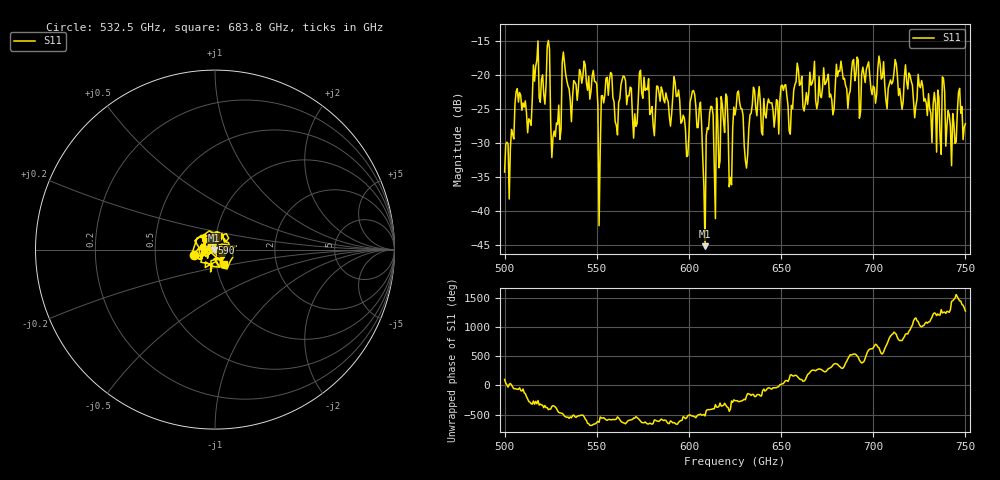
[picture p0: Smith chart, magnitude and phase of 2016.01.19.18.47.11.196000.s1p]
!Created with skrf (http://scikit-rf.org).
# GHz S RI R 50.0
!freq ReS11 ImS11
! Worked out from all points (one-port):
!   401 points, 500 GHz to 750 GHz, reference 50 ohm
!   lowest |S11| = -45.2 dB at 608.8 GHz (marker M1), VSWR 1.01, Z = 49.5 - j0.18 ohm
!   |S11| at or under -10 dB: start of sweep to end of sweep
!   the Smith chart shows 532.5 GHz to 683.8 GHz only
!   S11 on the Smith chart (normalised r, x): 532.5 GHz: 0.79, -0.05; 590 GHz: 0.96, +0.07; 683.8 GHz: 1.09, -0.18
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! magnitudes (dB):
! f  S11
! 500 GHz  -34.3
! 506.9 GHz  -22.0
! 513.8 GHz  -26.7
! 516.9 GHz  -18.7
! 523.8 GHz  -14.9
! 526.2 GHz  -29.2
! 531.2 GHz  -18.1
! 532.5 GHz  -18.2
! 548.8 GHz  -20.9
! 551.9 GHz  -31.2
! 556.2 GHz  -22.9
! 562.5 GHz  -23.4
! 590 GHz  -27.5
! 593.8 GHz  -23.1
! 598.8 GHz  -32.0
! 602.5 GHz  -22.2
! 608.8 GHz  -45.2
! 611.9 GHz  -24.6
! 619.4 GHz  -28.4
! 622.5 GHz  -35.1
! 625 GHz  -25.9
! 631.2 GHz  -33.7
! 635 GHz  -21.8
! 656.2 GHz  -24.9
! 683.8 GHz  -20.6
! 687.5 GHz  -22.3
! 718.8 GHz  -22.0
! 750 GHz  -27.1
